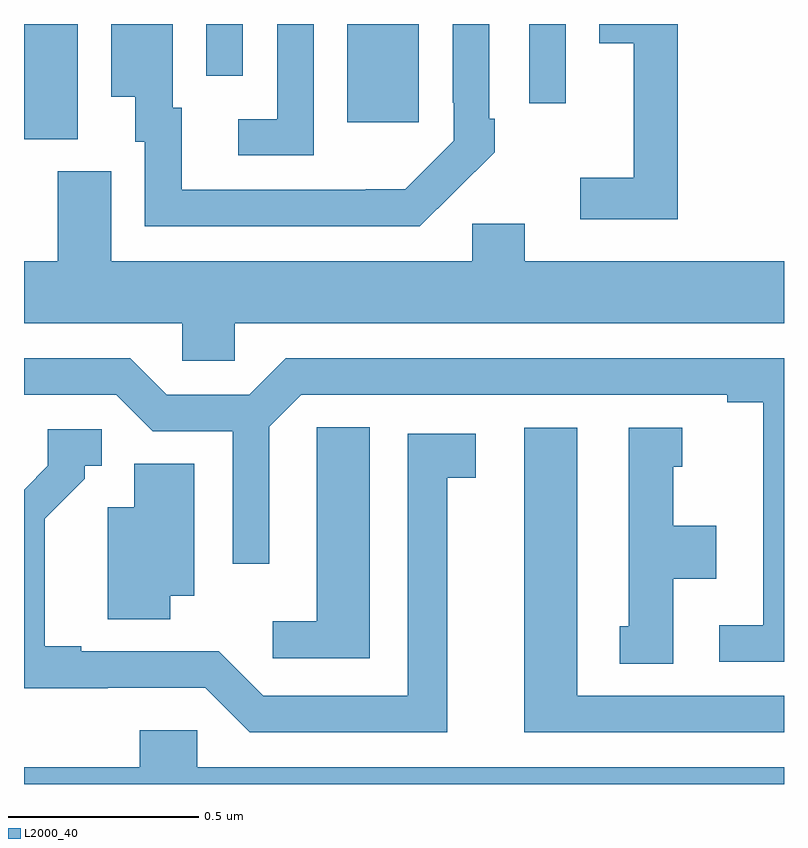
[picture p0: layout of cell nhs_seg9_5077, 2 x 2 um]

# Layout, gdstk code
import gdstk
lib = gdstk.Library(unit=1e-6, precision=1e-09)
def R(c, l, rs):  # rectangles x0, y0, x1, y1
    for r in rs: c.add(gdstk.rectangle(r[:2], r[2:], *l))
def P(c, l, *ps):  # polygons
    for p in ps: c.add(gdstk.Polygon(p, *l))
L2000_40 = (2000, 40)

nhs_seg9_5077 = lib.new_cell('nhs_seg9_5077')
R(nhs_seg9_5077, L2000_40, [(174,1238.197,174.142,1238.5), (174.851,1238.241,175.039,1238.5), (175.329,1238.292,175.425,1238.5), (174.48,1238.364,174.576,1238.5)])
P(nhs_seg9_5077, L2000_40, [(174.762,1238.5),(174.666,1238.5),(174.666,1238.25),(174.564,1238.25),(174.564,1238.154),(174.762,1238.154)],
  [(175.133,1238.059),(175.134,1238.058),(175.239,1238.163),(175.239,1238.251),(175.224,1238.251),(175.224,1238.5),(175.128,1238.5),(175.128,1238.293),(175.131,1238.293),(175.131,1238.193),(175.003,1238.065),(174.899,1238.065),(174.899,1238.064),(174.415,1238.064),(174.415,1238.28),(174.391,1238.28),(174.391,1238.5),(174.23,1238.5),(174.23,1238.309),(174.293,1238.309),(174.293,1238.19),(174.318,1238.19),(174.318,1237.968),(175.042,1237.968)],
  [(175.721,1238.5),(175.514,1238.5),(175.514,1238.45),(175.604,1238.45),(175.604,1238.095),(175.464,1238.095),(175.464,1237.986),(175.721,1237.986)],
  [(174.555,1237.712),(176,1237.712),(176,1237.876),(175.318,1237.876),(175.318,1237.974),(175.179,1237.974),(175.179,1237.876),(174.229,1237.876),(174.229,1238.112),(174.089,1238.112),(174.089,1237.876),(174,1237.876),(174,1237.712),(174.417,1237.712),(174.417,1237.614),(174.555,1237.614)],
  [(176,1237.62),(174.689,1237.62),(174.593,1237.524),(174.375,1237.524),(174.279,1237.62),(174,1237.62),(174,1237.524),(174.243,1237.524),(174.339,1237.428),(174.549,1237.428),(174.549,1237.08),(174.645,1237.08),(174.645,1237.44),(174.729,1237.524),(175.85,1237.524),(175.85,1237.504),(175.946,1237.504),(175.946,1236.918),(175.83,1236.918),(175.83,1236.822),(176,1236.822)],
  [(174.91,1237.439),(174.771,1237.439),(174.771,1237.331),(174.77,1237.331),(174.77,1236.928),(174.654,1236.928),(174.654,1236.831),(174.91,1236.831)],
  [(176,1236.732),(175.456,1236.732),(175.456,1237.438),(175.316,1237.438),(175.316,1236.636),(176,1236.636)],
  [(175.708,1237.04),(175.822,1237.04),(175.822,1237.18),(175.708,1237.18),(175.708,1237.335),(175.732,1237.335),(175.732,1237.438),(175.592,1237.438),(175.592,1236.915),(175.568,1236.915),(175.568,1236.817),(175.708,1236.817)],
  [(175.114,1237.306),(175.189,1237.306),(175.189,1237.422),(175.01,1237.422),(175.01,1236.732),(174.63,1236.732),(174.512,1236.85),(174.416,1236.85),(174.416,1236.849),(174.151,1236.849),(174.151,1236.862),(174.055,1236.862),(174.055,1237.198),(174.16,1237.303),(174.16,1237.338),(174.205,1237.338),(174.205,1237.434),(174.063,1237.434),(174.063,1237.338),(174,1237.275),(174,1236.752),(174.221,1236.752),(174.221,1236.753),(174.477,1236.753),(174.594,1236.636),(175.114,1236.636)],
  [(174.385,1236.995),(174.448,1236.995),(174.448,1237.343),(174.29,1237.343),(174.29,1237.228),(174.221,1237.228),(174.221,1236.934),(174.385,1236.934)],
  [(176,1236.544),(174.456,1236.544),(174.456,1236.642),(174.305,1236.642),(174.305,1236.544),(174,1236.544),(174,1236.5),(176,1236.5)])

lib.write_gds('nhs_seg9_5077.gds')
